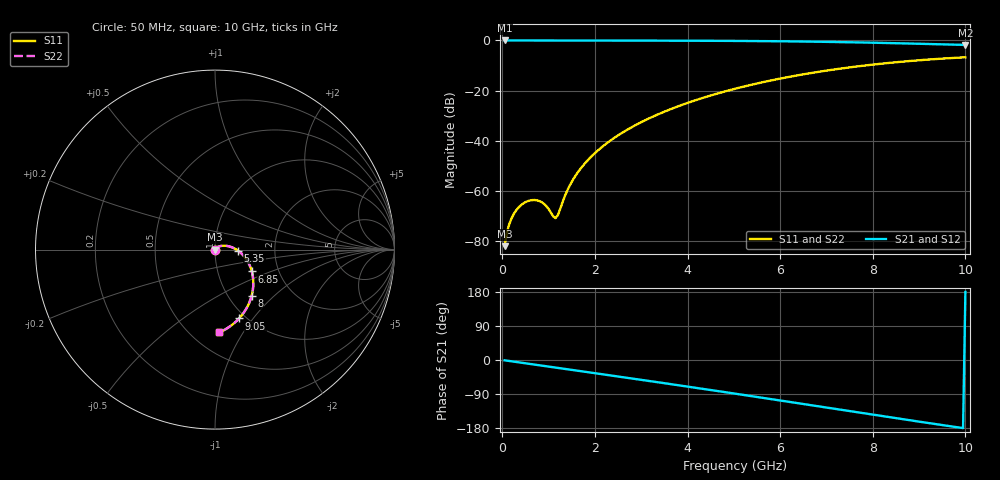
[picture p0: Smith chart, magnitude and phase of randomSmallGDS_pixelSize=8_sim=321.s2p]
! freq	dB(S11)	phase(S11)	dB(S12)	phase(S12)
!  dB(S21)	phase(S21)	dB(S22)	phase(S22)
!S-par simulation data
#  GHz  S  DB  R 50
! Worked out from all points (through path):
!   200 points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, 50 MHz to 10 GHz, reference 50 ohm
!   highest |S21| = 0.00 dB at 50 MHz (marker M1); lowest = -1.8 dB at 10 GHz (marker M2)
!   group delay of S21, straight-line fit = 50.5 ps
!   lowest |S11| = -82.0 dB at 50 MHz (marker M3), VSWR 1.00, Z = 50 - j0.00735 ohm
!   |S11| at or under -10 dB: start of sweep to 7.825 GHz
!   |S22| runs from -82.0 to -6.7 dB; largest |S21 - S12| = 0
!   S11 on the Smith chart (normalised r, x): 50 MHz: 1.00, -0.00; 5.35 GHz: 1.30, -0.02; 6.85 GHz: 1.46, -0.38; 8 GHz: 1.27, -0.74; 9.05 GHz: 0.93, -0.86; 10 GHz: 0.67, -0.79
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0.05  -82.04 -68.3  -0.00 -0.9  -0.00 -0.9  -82.04 -68.3
0.15  -73.26 -85.8  -0.00 -2.6  -0.00 -2.6  -73.26 -85.8
0.25  -69.14 -91.7  -0.00 -4.4  -0.00 -4.4  -69.14 -91.6
0.4  -65.75 -97.7  -0.01 -7.0  -0.01 -7.0  -65.75 -97.6
0.55  -64.08 -103.3  -0.01 -9.6  -0.01 -9.6  -64.08 -103.1
0.85  -64.50 -118.4  -0.02 -14.8  -0.02 -14.8  -64.51 -117.9
1.15  -70.84 168.6  -0.02 -20.0  -0.02 -20.0  -71.10 168.9
1.2  -69.69 140.1  -0.02 -20.9  -0.02 -20.9  -69.93 139.6
1.45  -58.08 86.5  -0.03 -25.2  -0.03 -25.2  -58.11 85.9
1.75  -49.75 71.4  -0.03 -30.4  -0.03 -30.4  -49.77 71.1
2.05  -44.10 62.6  -0.04 -35.7  -0.04 -35.7  -44.11 62.3
2.45  -38.46 53.1  -0.05 -42.6  -0.05 -42.6  -38.46 53.0
3.4  -29.17 33.9  -0.07 -59.4  -0.07 -59.4  -29.17 33.8
4.25  -23.37 17.8  -0.12 -74.7  -0.12 -74.7  -23.38 17.7
5.05  -19.15 2.9  -0.18 -89.2  -0.18 -89.2  -19.15 2.8
5.35  -17.79 -2.7  -0.22 -94.8  -0.22 -94.8  -17.79 -2.7
6.7  -12.89 -27.9  -0.48 -119.9  -0.48 -119.9  -12.89 -27.9
6.85  -12.45 -30.7  -0.51 -122.7  -0.51 -122.7  -12.45 -30.7
8  -9.63 -51.9  -0.89 -144.3  -0.89 -144.3  -9.63 -51.9
8.35  -8.96 -58.2  -1.03 -150.8  -1.03 -150.8  -8.96 -58.3
9.05  -7.82 -70.7  -1.34 -163.6  -1.34 -163.6  -7.82 -70.7
10  -6.71 -87.1  -1.78 179.4  -1.78 179.4  -6.71 -87.1
